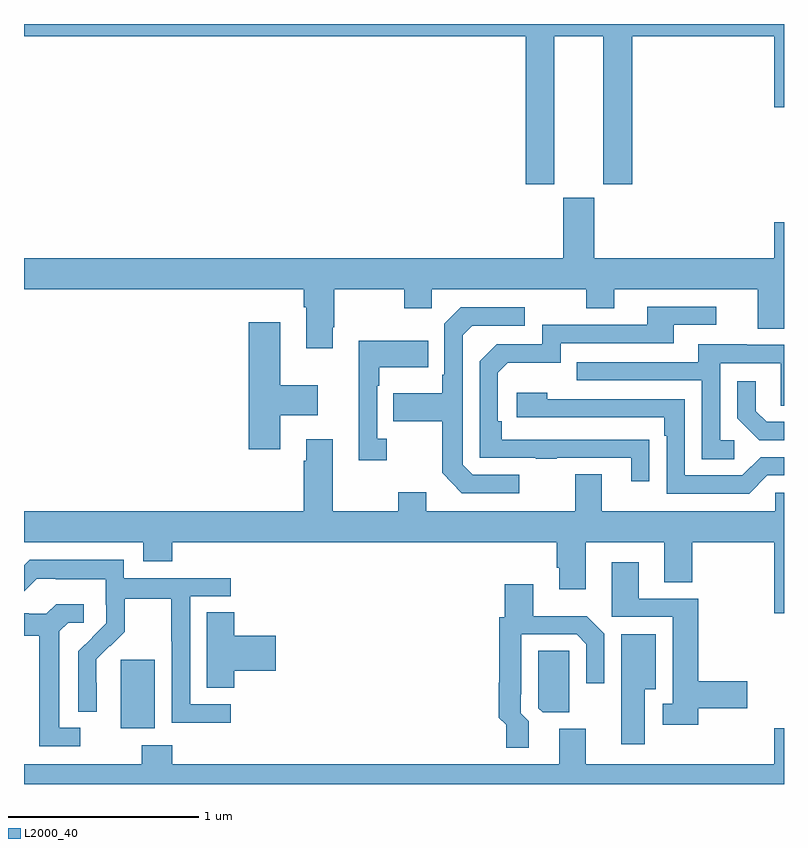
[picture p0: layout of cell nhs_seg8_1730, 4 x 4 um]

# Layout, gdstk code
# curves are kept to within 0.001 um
import gdstk
lib = gdstk.Library(unit=1e-6, precision=1e-09)
def R(c, l, rs):  # rectangles x0, y0, x1, y1
    for r in rs: c.add(gdstk.rectangle(r[:2], r[2:], *l))
def P(c, l, *ps):  # polygons
    for p in ps: c.add(gdstk.Polygon(p, *l))
L2000_40 = (2000, 40)

nhs_seg8_1730 = lib.new_cell('nhs_seg8_1730')
R(nhs_seg8_1730, L2000_40, [(221.51,1110.194,221.689,1110.555)])
P(nhs_seg8_1730, L2000_40, [(221,1113.836),(223.64,1113.836),(223.64,1113.057),(223.792,1113.057),(223.792,1113.836),(224.048,1113.836),(224.048,1113.057),(224.201,1113.057),(224.201,1113.836),(224.948,1113.836),(224.948,1113.462),(225,1113.462),(225,1113.9),(221,1113.9)],
  [(222.625,1112.305),(222.633,1112.305),(222.633,1112.504),(223,1112.504),(223,1112.405),(223.146,1112.405),(223.146,1112.504),(223.96,1112.504),(223.96,1112.405),(224.107,1112.405),(224.107,1112.504),(224.861,1112.504),(224.861,1112.296),(225,1112.296),(225,1112.857),(224.948,1112.857),(224.948,1112.668),(224.002,1112.668),(224.002,1112.985),(223.838,1112.985),(223.838,1112.668),(221,1112.668),(221,1112.504),(222.473,1112.504),(222.473,1112.408),(222.485,1112.408),(222.485,1112.193),(222.625,1112.193)],
  [(224.291,1111.712),(223.514,1111.713),(223.514,1111.81),(223.494,1111.81),(223.494,1112.064),(223.547,1112.117),(223.824,1112.117),(223.824,1112.22),(224.419,1112.22),(224.419,1112.316),(224.644,1112.316),(224.644,1112.412),(224.279,1112.412),(224.279,1112.316),(223.728,1112.316),(223.728,1112.214),(223.488,1112.214),(223.398,1112.124),(223.398,1111.617),(223.693,1111.617),(223.693,1111.612),(223.805,1111.612),(223.805,1111.617),(224.195,1111.617),(224.195,1111.494),(224.291,1111.494)],
  [(223.606,1111.527),(223.362,1111.527),(223.308,1111.581),(223.308,1112.262),(223.359,1112.313),(223.636,1112.313),(223.636,1112.409),(223.299,1112.409),(223.212,1112.322),(223.212,1112.053),(223.2,1112.053),(223.2,1111.957),(222.943,1111.957),(222.943,1111.81),(223.2,1111.81),(223.2,1111.537),(223.305,1111.431),(223.606,1111.431)],
  [(222.349,1111.841),(222.547,1111.841),(222.547,1111.999),(222.349,1111.999),(222.349,1112.329),(222.182,1112.329),(222.182,1111.662),(222.349,1111.662)],
  [(222.91,1111.718),(222.858,1111.718),(222.858,1111.997),(222.871,1111.997),(222.871,1112.093),(223.127,1112.093),(223.127,1112.233),(222.761,1112.233),(222.761,1111.605),(222.91,1111.605)],
  [(224.737,1111.71),(224.664,1111.71),(224.664,1112.115),(224.982,1112.115),(224.982,1111.891),(225,1111.891),(225,1112.211),(224.803,1112.211),(224.803,1112.215),(224.549,1112.215),(224.549,1112.121),(223.909,1112.121),(223.909,1112.025),(224.568,1112.025),(224.568,1111.609),(224.737,1111.609)],
  [(225,1111.806),(224.908,1111.806),(224.851,1111.863),(224.851,1112.02),(224.754,1112.02),(224.754,1111.826),(224.87,1111.71),(225,1111.71)],
  [(224.913,1111.524),(225,1111.524),(225,1111.62),(224.877,1111.62),(224.781,1111.524),(224.478,1111.524),(224.478,1111.926),(223.754,1111.926),(223.754,1111.96),(223.593,1111.96),(223.593,1111.83),(224.369,1111.83),(224.369,1111.733),(224.382,1111.733),(224.382,1111.428),(224.817,1111.428)],
  [(225,1111.434),(224.955,1111.434),(224.955,1111.336),(224.041,1111.336),(224.041,1111.531),(223.901,1111.531),(223.901,1111.336),(223.117,1111.336),(223.117,1111.435),(222.97,1111.435),(222.97,1111.336),(222.625,1111.336),(222.625,1111.714),(222.485,1111.714),(222.485,1111.601),(222.473,1111.601),(222.473,1111.336),(221,1111.336),(221,1111.172),(221.627,1111.172),(221.627,1111.073),(221.78,1111.073),(221.78,1111.172),(223.805,1111.172),(223.805,1111.039),(223.817,1111.039),(223.817,1110.924),(223.957,1110.924),(223.957,1111.172),(224.369,1111.172),(224.369,1110.961),(224.517,1110.961),(224.517,1111.172),(224.948,1111.172),(224.948,1110.798),(225,1110.798)],
  [(222.088,1110.321),(221.874,1110.321),(221.874,1110.888),(222.088,1110.888),(222.088,1110.984),(221.526,1110.984),(221.526,1111.081),(221.029,1111.081),(221,1111.052),(221,1110.914),(221.067,1110.981),(221.167,1110.981),(221.167,1110.977),(221.43,1110.977),(221.43,1110.843),(221.432,1110.843),(221.432,1110.746),(221.286,1110.598),(221.286,1110.28),(221.382,1110.28),(221.381,1110.557),(221.451,1110.627),(221.454,1110.624),(221.531,1110.701),(221.531,1110.876),(221.776,1110.876),(221.776,1110.652),(221.778,1110.652),(221.778,1110.223),(222.088,1110.223)],
  [(224.549,1110.298),(224.806,1110.298),(224.806,1110.44),(224.549,1110.44),(224.549,1110.876),(224.236,1110.876),(224.236,1111.066),(224.093,1111.066),(224.093,1110.78),(224.414,1110.78),(224.414,1110.322),(224.361,1110.322),(224.361,1110.212),(224.549,1110.212)],
  [(223.657,1110.23),(223.614,1110.273),(223.614,1110.373),(223.617,1110.373),(223.617,1110.687),(223.908,1110.687),(223.959,1110.636),(223.959,1110.429),(224.055,1110.429),(224.055,1110.69),(223.961,1110.784),(223.681,1110.784),(223.681,1110.952),(223.529,1110.952),(223.529,1110.777),(223.501,1110.777),(223.501,1110.434),(223.499,1110.434),(223.499,1110.25),(223.537,1110.212),(223.537,1110.09),(223.657,1110.09)],
  [(221.296,1110.195),(221.185,1110.195),(221.185,1110.703),(221.232,1110.75),(221.314,1110.75),(221.314,1110.847),(221.17,1110.847),(221.118,1110.795),(221.024,1110.795),(221.024,1110.798),(221,1110.798),(221,1110.68),(221.081,1110.68),(221.081,1110.099),(221.296,1110.099)],
  [(222.107,1110.497),(222.325,1110.497),(222.325,1110.68),(222.107,1110.68),(222.107,1110.803),(221.963,1110.803),(221.963,1110.406),(222.107,1110.406)],
  [(224.266,1110.398),(224.326,1110.398),(224.326,1110.688),(224.144,1110.688),(224.144,1110.108),(224.266,1110.108)],
  [(223.87,1110.491),(223.869,1110.491),(223.869,1110.602),(223.707,1110.602),(223.707,1110.3),(223.731,1110.277),(223.87,1110.277)],
  [(225,1110.193),(224.948,1110.193),(224.948,1110.004),(223.957,1110.004),(223.957,1110.192),(223.817,1110.192),(223.817,1110.004),(221.78,1110.004),(221.78,1110.103),(221.62,1110.103),(221.62,1110.004),(221,1110.004),(221,1109.9),(225,1109.9)])

lib.write_gds('nhs_seg8_1730.gds')
